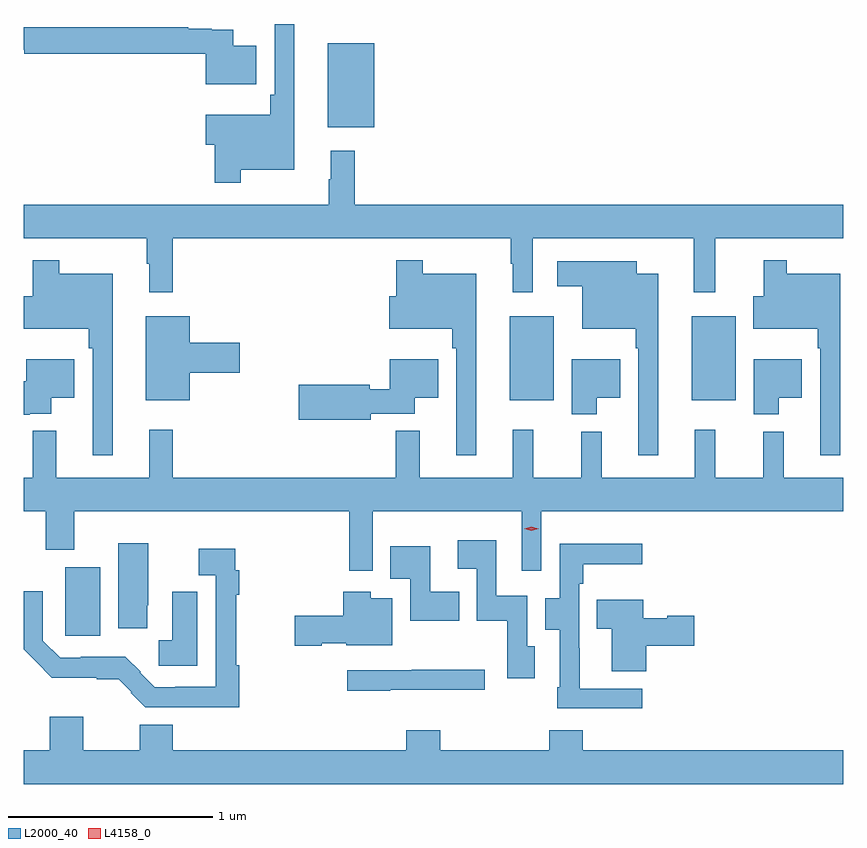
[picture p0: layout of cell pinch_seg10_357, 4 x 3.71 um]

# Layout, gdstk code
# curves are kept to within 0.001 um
import gdstk
lib = gdstk.Library(unit=1e-6, precision=1e-09)
def R(c, l, rs):  # rectangles x0, y0, x1, y1
    for r in rs: c.add(gdstk.rectangle(r[:2], r[2:], *l))
def P(c, l, *ps):  # polygons
    for p in ps: c.add(gdstk.Polygon(p, *l))
L2000_40 = (2000, 40)
L4158_0 = (4158, 0)

pinch_seg10_357 = lib.new_cell('pinch_seg10_357')
R(pinch_seg10_357, L2000_40, [(546.449,1278.215,546.664,1278.625), (547.337,1278.215,547.552,1278.625), (545.561,1279.547,545.788,1279.957)])
P(pinch_seg10_357, L2000_40, [(545.137,1279.34),(545.398,1279.34),(545.398,1280.051),(545.301,1280.051),(545.301,1279.705),(545.281,1279.705),(545.281,1279.609),(544.964,1279.609),(544.964,1279.462),(545.008,1279.462),(545.008,1279.275),(545.137,1279.275)],
  [(545.212,1279.945),(545.098,1279.945),(545.098,1280.022),(544.994,1280.022),(544.994,1280.028),(544.88,1280.028),(544.88,1280.035),(544.077,1280.035),(544.077,1279.926),(544.078,1279.926),(544.078,1279.906),(544.964,1279.906),(544.964,1279.757),(545.212,1279.757)],
  [(544.805,1279.004),(546.453,1279.004),(546.453,1278.881),(546.464,1278.881),(546.464,1278.741),(546.561,1278.741),(546.561,1279.004),(547.348,1279.004),(547.348,1278.741),(547.452,1278.741),(547.452,1279.004),(548.077,1279.004),(548.077,1279.168),(545.693,1279.168),(545.693,1279.432),(545.576,1279.432),(545.576,1279.292),(545.565,1279.292),(545.565,1279.168),(544.077,1279.168),(544.077,1279.004),(544.677,1279.004),(544.677,1278.881),(544.688,1278.881),(544.688,1278.741),(544.805,1278.741)],
  [(548.062,1278.832),(547.801,1278.832),(547.801,1278.898),(547.69,1278.898),(547.69,1278.721),(547.638,1278.721),(547.638,1278.563),(547.953,1278.563),(547.953,1278.467),(547.965,1278.467),(547.965,1277.946),(548.062,1277.946)],
  [(546.286,1278.832),(546.025,1278.832),(546.025,1278.898),(545.896,1278.898),(545.896,1278.721),(545.862,1278.721),(545.862,1278.563),(546.169,1278.563),(546.169,1278.467),(546.189,1278.467),(546.189,1277.946),(546.286,1277.946)],
  [(544.51,1278.832),(544.249,1278.832),(544.249,1278.898),(544.12,1278.898),(544.12,1278.721),(544.077,1278.721),(544.077,1278.563),(544.393,1278.563),(544.393,1278.467),(544.413,1278.467),(544.413,1277.946),(544.51,1277.946)],
  [(547.174,1278.832),(547.069,1278.832),(547.069,1278.892),(546.681,1278.892),(546.681,1278.77),(546.803,1278.77),(546.803,1278.563),(547.065,1278.563),(547.065,1278.467),(547.077,1278.467),(547.077,1277.946),(547.174,1277.946)],
  [(544.888,1278.347),(545.131,1278.347),(545.131,1278.494),(544.888,1278.494),(544.888,1278.625),(544.673,1278.625),(544.673,1278.215),(544.888,1278.215)],
  [(546.874,1278.227),(546.988,1278.227),(546.988,1278.415),(546.752,1278.415),(546.752,1278.146),(546.874,1278.146)],
  [(547.762,1278.227),(547.876,1278.227),(547.876,1278.415),(547.64,1278.415),(547.64,1278.146),(547.762,1278.146)],
  [(545.77,1278.149),(545.986,1278.149),(545.986,1278.227),(546.1,1278.227),(546.1,1278.415),(545.864,1278.415),(545.864,1278.267),(545.766,1278.267),(545.766,1278.29),(545.418,1278.29),(545.418,1278.119),(545.77,1278.119)],
  [(544.106,1278.149),(544.21,1278.149),(544.21,1278.227),(544.324,1278.227),(544.324,1278.415),(544.088,1278.415),(544.088,1278.307),(544.077,1278.307),(544.077,1278.144),(544.106,1278.144)],
  [(545.781,1277.672),(546.507,1277.672),(546.507,1277.382),(546.603,1277.382),(546.603,1277.672),(548.077,1277.672),(548.077,1277.836),(547.787,1277.836),(547.787,1278.061),(547.687,1278.061),(547.687,1277.836),(547.452,1277.836),(547.452,1278.07),(547.352,1278.07),(547.352,1277.836),(546.899,1277.836),(546.899,1278.061),(546.799,1278.061),(546.799,1277.836),(546.564,1277.836),(546.564,1278.07),(546.464,1278.07),(546.464,1277.836),(546.011,1277.836),(546.011,1278.064),(545.893,1278.064),(545.893,1277.836),(544.805,1277.836),(544.805,1278.07),(544.688,1278.07),(544.688,1277.836),(544.235,1277.836),(544.235,1278.064),(544.121,1278.064),(544.121,1277.836),(544.077,1277.836),(544.077,1277.672),(544.184,1277.672),(544.184,1277.483),(544.324,1277.483),(544.324,1277.672),(545.665,1277.672),(545.665,1277.382),(545.781,1277.382)],
  [(546.571,1277.013),(546.534,1277.013),(546.534,1277.26),(546.384,1277.26),(546.384,1277.53),(546.195,1277.53),(546.195,1277.39),(546.288,1277.39),(546.288,1277.138),(546.436,1277.138),(546.436,1276.857),(546.571,1276.857)],
  [(544.68,1277.212),(544.684,1277.212),(544.684,1277.515),(544.538,1277.515),(544.538,1277.101),(544.68,1277.101)],
  [(547.096,1276.806),(546.79,1276.806),(546.79,1277.003),(546.789,1277.003),(546.789,1277.318),(546.809,1277.318),(546.809,1277.414),(547.096,1277.414),(547.096,1277.512),(546.693,1277.512),(546.693,1277.247),(546.623,1277.247),(546.623,1277.092),(546.693,1277.092),(546.693,1276.813),(546.681,1276.813),(546.681,1276.71),(547.096,1276.71)],
  [(546.203,1277.278),(546.061,1277.278),(546.061,1277.5),(545.866,1277.5),(545.866,1277.342),(545.964,1277.342),(545.964,1277.138),(546.203,1277.138)],
  [(545.129,1276.919),(545.114,1276.919),(545.114,1277.264),(545.129,1277.264),(545.129,1277.384),(545.109,1277.384),(545.109,1277.488),(544.93,1277.488),(544.93,1277.36),(545.013,1277.36),(545.013,1276.816),(544.816,1276.816),(544.816,1276.812),(544.716,1276.812),(544.644,1276.884),(544.647,1276.887),(544.573,1276.961),(544.354,1276.961),(544.354,1276.956),(544.254,1276.956),(544.17,1277.04),(544.17,1277.281),(544.077,1277.281),(544.077,1276.997),(544.213,1276.859),(544.433,1276.859),(544.433,1276.851),(544.541,1276.851),(544.603,1276.789),(544.599,1276.785),(544.669,1276.715),(545.129,1276.715)],
  [(544.45,1277.398),(544.28,1277.398),(544.28,1277.199),(544.278,1277.199),(544.278,1277.064),(544.45,1277.064)],
  [(544.924,1277.279),(544.802,1277.279),(544.802,1277.041),(544.735,1277.041),(544.735,1276.918),(544.924,1276.918)],
  [(545.532,1277.027),(545.652,1277.027),(545.652,1277.018),(545.875,1277.018),(545.875,1277.248),(545.77,1277.248),(545.77,1277.278),(545.636,1277.278),(545.636,1277.162),(545.4,1277.162),(545.4,1277.015),(545.532,1277.015)],
  [(547.115,1277.015),(547.351,1277.015),(547.351,1277.162),(547.218,1277.162),(547.218,1277.149),(547.102,1277.149),(547.102,1277.239),(546.874,1277.239),(546.874,1277.099),(546.947,1277.099),(546.947,1276.891),(547.115,1276.891)],
  [(545.867,1276.799),(546.328,1276.799),(546.328,1276.899),(545.971,1276.899),(545.971,1276.896),(545.655,1276.896),(545.655,1276.795),(545.867,1276.795)],
  [(548.077,1276.504),(546.806,1276.504),(546.806,1276.603),(546.641,1276.603),(546.641,1276.504),(546.11,1276.504),(546.11,1276.603),(545.945,1276.603),(545.945,1276.504),(544.804,1276.504),(544.804,1276.63),(544.643,1276.63),(544.643,1276.504),(544.366,1276.504),(544.366,1276.669),(544.202,1276.669),(544.202,1276.504),(544.077,1276.504),(544.077,1276.34),(548.077,1276.34)])
P(pinch_seg10_357, L4158_0, [(546.555,1277.577),(546.52,1277.587),(546.52,1277.587),(546.52,1277.587),(546.555,1277.597),(546.59,1277.587),(546.59,1277.587),(546.59,1277.587)])

lib.write_gds('pinch_seg10_357.gds')
